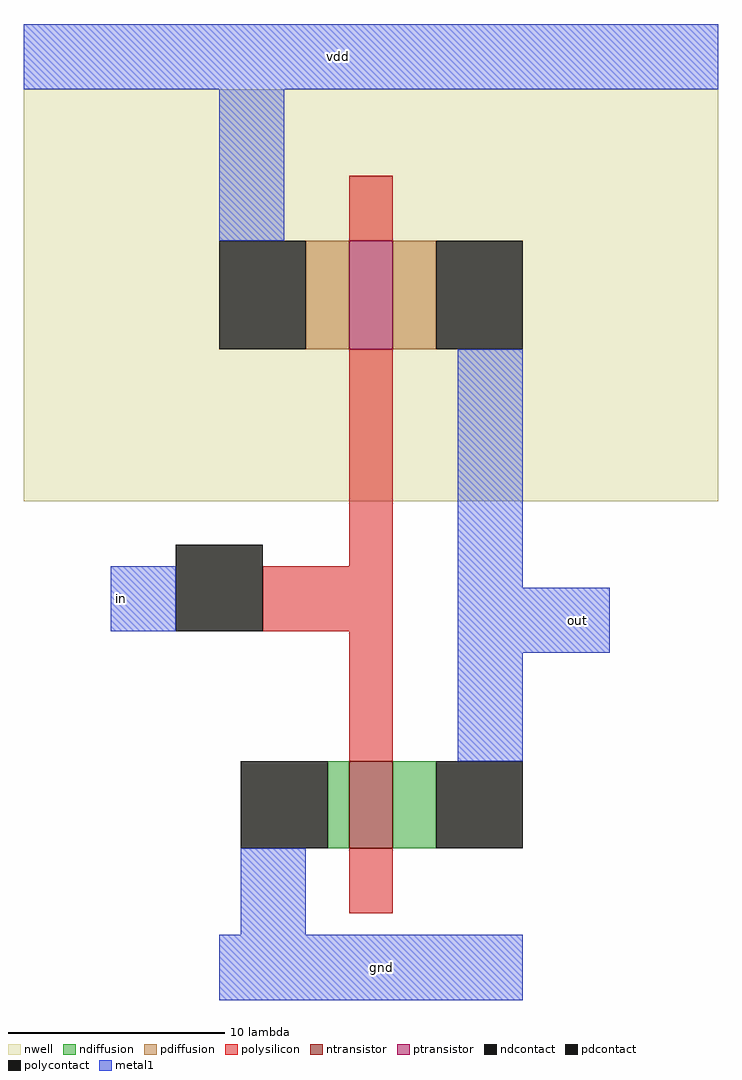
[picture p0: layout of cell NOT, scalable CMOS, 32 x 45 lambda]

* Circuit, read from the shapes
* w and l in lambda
.subckt NOT gnd in out vdd
M1 out in gnd VSUBS nfet w=4 l=2
M2 out in vdd n1 pfet w=5 l=2
.ends

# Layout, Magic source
magic
tech scmos
<< nwell >>
rect -7 -3 25 16
<< ntransistor >>
rect 8 -19 10 -15
<< ptransistor >>
rect 8 4 10 9
<< ndiffusion >>
rect 7 -19 8 -15
rect 10 -19 12 -15
<< pdiffusion >>
rect 6 4 8 9
rect 10 4 12 9
<< ndcontact >>
rect 3 -19 7 -15
rect 12 -19 16 -15
<< pdcontact >>
rect 2 4 6 9
rect 12 4 16 9
<< polysilicon >>
rect 8 9 10 12
rect 8 -6 10 4
rect 4 -9 10 -6
rect 8 -15 10 -9
rect 8 -22 10 -19
<< polycontact >>
rect 0 -9 4 -5
<< metal1 >>
rect -7 16 25 19
rect 2 9 5 16
rect -3 -9 0 -6
rect 13 -7 16 4
rect 13 -10 20 -7
rect 13 -15 16 -10
rect 3 -23 6 -19
rect 2 -26 16 -23
<< labels >>
rlabel metal1 6 17 9 18 5 vdd
rlabel metal1 -3 -8 -2 -7 3 in
rlabel metal1 18 -9 19 -8 1 out
rlabel metal1 9 -25 10 -24 1 gnd
<< end >>
